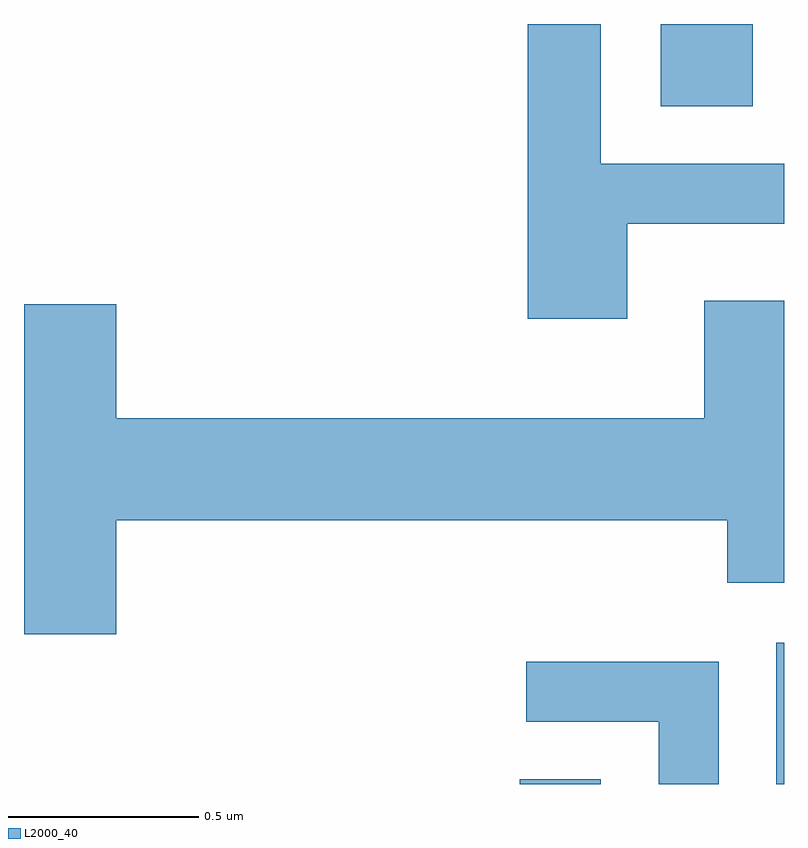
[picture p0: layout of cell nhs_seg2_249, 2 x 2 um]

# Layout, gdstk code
import gdstk
lib = gdstk.Library(unit=1e-6, precision=1e-09)
def R(c, l, rs):  # rectangles x0, y0, x1, y1
    for r in rs: c.add(gdstk.rectangle(r[:2], r[2:], *l))
def P(c, l, *ps):  # polygons
    for p in ps: c.add(gdstk.Polygon(p, *l))
L2000_40 = (2000, 40)

nhs_seg2_249 = lib.new_cell('nhs_seg2_249')
R(nhs_seg2_249, L2000_40, [(187.916,1089.802,188.129,1089.814), (188.591,1089.802,188.611,1090.174), (188.286,1091.586,188.529,1091.802)])
P(nhs_seg2_249, L2000_40, [(188.199,1091.276),(188.611,1091.276),(188.611,1091.434),(188.129,1091.434),(188.129,1091.802),(187.936,1091.802),(187.936,1091.026),(188.199,1091.026)],
  [(186.854,1090.496),(188.461,1090.496),(188.461,1090.331),(188.611,1090.331),(188.611,1091.074),(188.401,1091.074),(188.401,1090.764),(186.854,1090.764),(186.854,1091.064),(186.611,1091.064),(186.611,1090.196),(186.854,1090.196)],
  [(188.439,1090.124),(187.933,1090.124),(187.933,1089.966),(188.281,1089.966),(188.281,1089.802),(188.439,1089.802)])

lib.write_gds('nhs_seg2_249.gds')
